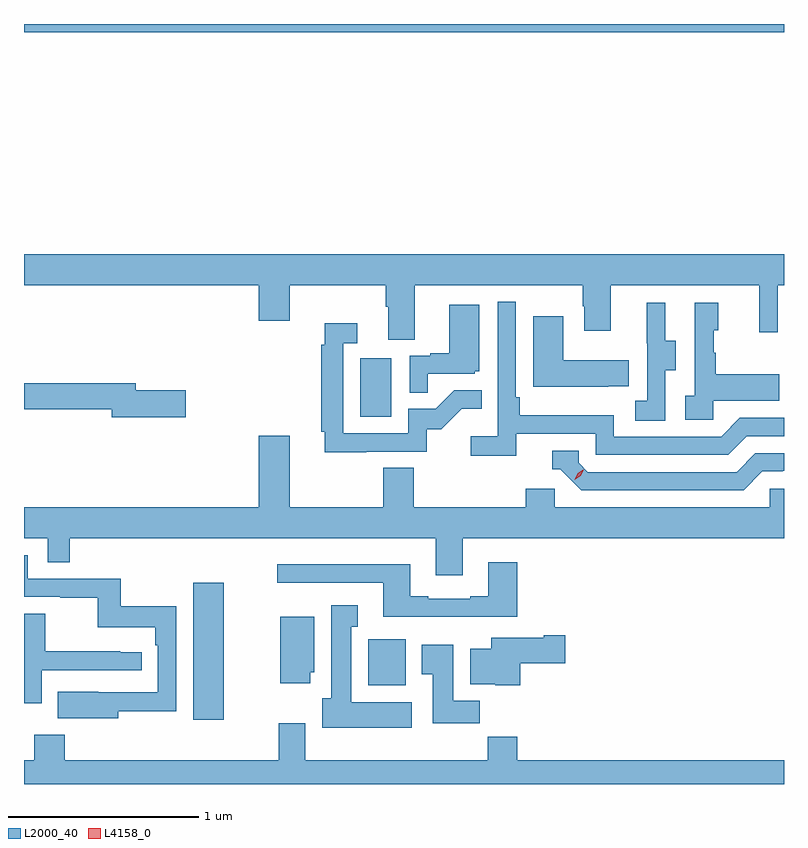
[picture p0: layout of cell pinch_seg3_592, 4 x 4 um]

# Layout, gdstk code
import gdstk
lib = gdstk.Library(unit=1e-6, precision=1e-09)
def R(c, l, rs):  # rectangles x0, y0, x1, y1
    for r in rs: c.add(gdstk.rectangle(r[:2], r[2:], *l))
def P(c, l, *ps):  # polygons
    for p in ps: c.add(gdstk.Polygon(p, *l))
L2000_40 = (2000, 40)
L4158_0 = (4158, 0)

pinch_seg3_592 = lib.new_cell('pinch_seg3_592')
R(pinch_seg3_592, L2000_40, [(1027.799,691.968,1027.96,692.689), (1028.72,692.15,1028.917,692.392), (1028.678,693.564,1028.842,693.871), (1026.909,695.588,1030.909,695.631)])
P(pinch_seg3_592, L2000_40, [(1028.965,694.256),(1029.85,694.256),(1029.85,694.145),(1029.857,694.145),(1029.857,694.017),(1029.997,694.017),(1029.997,694.256),(1030.778,694.256),(1030.778,694.008),(1030.875,694.008),(1030.875,694.256),(1030.909,694.256),(1030.909,694.42),(1026.909,694.42),(1026.909,694.256),(1028.144,694.256),(1028.144,694.068),(1028.308,694.068),(1028.308,694.256),(1028.813,694.256),(1028.813,694.144),(1028.825,694.144),(1028.825,693.97),(1028.965,693.97)],
  [(1029.5,693.474),(1029.918,693.474),(1029.918,693.363),(1030.615,693.363),(1030.714,693.462),(1030.909,693.462),(1030.909,693.558),(1030.677,693.558),(1030.578,693.459),(1030.014,693.459),(1030.014,693.571),(1029.518,693.571),(1029.518,693.667),(1029.498,693.667),(1029.498,694.168),(1029.402,694.168),(1029.402,693.46),(1029.261,693.46),(1029.261,693.358),(1029.5,693.358)],
  [(1030.536,693.647),(1030.883,693.647),(1030.883,693.787),(1030.549,693.787),(1030.549,693.902),(1030.539,693.902),(1030.539,694.02),(1030.564,694.02),(1030.564,694.165),(1030.44,694.165),(1030.44,693.674),(1030.389,693.674),(1030.389,693.549),(1030.536,693.549)],
  [(1030.284,693.808),(1030.339,693.808),(1030.339,693.963),(1030.285,693.963),(1030.285,694.165),(1030.187,694.165),(1030.187,693.951),(1030.188,693.951),(1030.188,693.647),(1030.125,693.647),(1030.125,693.544),(1030.284,693.544)],
  [(1029.035,693.789),(1029.282,693.789),(1029.282,693.804),(1029.304,693.804),(1029.304,694.153),(1029.146,694.153),(1029.146,693.898),(1029.047,693.898),(1029.047,693.885),(1028.94,693.885),(1028.94,693.691),(1029.035,693.691)],
  [(1029.983,693.725),(1030.091,693.725),(1030.091,693.862),(1029.748,693.862),(1029.748,694.093),(1029.59,694.093),(1029.59,693.722),(1029.983,693.722)],
  [(1028.711,693.381),(1029.03,693.381),(1029.03,693.498),(1029.106,693.498),(1029.213,693.605),(1029.317,693.605),(1029.317,693.704),(1029.173,693.704),(1029.075,693.606),(1028.931,693.606),(1028.931,693.477),(1028.589,693.477),(1028.589,693.951),(1028.662,693.951),(1028.662,694.057),(1028.492,694.057),(1028.492,693.944),(1028.473,693.944),(1028.473,693.484),(1028.492,693.484),(1028.492,693.376),(1028.711,693.376)],
  [(1027.759,693.704),(1027.498,693.704),(1027.498,693.74),(1026.909,693.74),(1026.909,693.604),(1027.37,693.604),(1027.37,693.562),(1027.759,693.562)],
  [(1029.217,692.924),(1030.909,692.924),(1030.909,693.186),(1030.833,693.186),(1030.833,693.088),(1029.702,693.088),(1029.702,693.186),(1029.551,693.186),(1029.551,693.088),(1028.96,693.088),(1028.96,693.296),(1028.8,693.296),(1028.8,693.088),(1028.308,693.088),(1028.308,693.463),(1028.144,693.463),(1028.144,693.088),(1026.909,693.088),(1026.909,692.924),(1027.035,692.924),(1027.035,692.797),(1027.151,692.797),(1027.151,692.924),(1029.077,692.924),(1029.077,692.73),(1029.217,692.73)],
  [(1030.795,693.276),(1030.902,693.276),(1030.902,693.279),(1030.909,693.279),(1030.909,693.372),(1030.758,693.372),(1030.659,693.273),(1029.876,693.273),(1029.828,693.321),(1029.828,693.384),(1029.689,693.384),(1029.689,693.288),(1029.732,693.288),(1029.843,693.177),(1030.696,693.177)],
  [(1027.405,692.014),(1027.71,692.014),(1027.71,692.566),(1027.417,692.566),(1027.417,692.712),(1026.93,692.712),(1026.93,692.835),(1026.909,692.835),(1026.909,692.616),(1027.099,692.616),(1027.099,692.611),(1027.296,692.611),(1027.296,692.456),(1027.601,692.456),(1027.601,692.36),(1027.614,692.36),(1027.614,692.115),(1027.301,692.115),(1027.301,692.116),(1027.087,692.116),(1027.087,691.976),(1027.405,691.976)],
  [(1029.506,692.797),(1029.353,692.797),(1029.353,692.62),(1029.257,692.62),(1029.257,692.607),(1029.037,692.607),(1029.037,692.62),(1028.941,692.62),(1028.941,692.788),(1028.241,692.788),(1028.241,692.691),(1028.801,692.691),(1028.801,692.51),(1029.506,692.51)],
  [(1028.95,692.062),(1028.632,692.062),(1028.632,692.459),(1028.665,692.459),(1028.665,692.572),(1028.525,692.572),(1028.525,692.082),(1028.48,692.082),(1028.48,691.928),(1028.95,691.928)],
  [(1027.002,692.229),(1027.528,692.229),(1027.528,692.325),(1027.415,692.325),(1027.415,692.33),(1027.022,692.33),(1027.022,692.526),(1026.909,692.526),(1026.909,692.057),(1027.002,692.057)],
  [(1028.416,692.22),(1028.437,692.22),(1028.437,692.512),(1028.258,692.512),(1028.258,692.16),(1028.416,692.16)],
  [(1029.521,692.267),(1029.757,692.267),(1029.757,692.414),(1029.644,692.414),(1029.644,692.401),(1029.368,692.401),(1029.368,692.344),(1029.257,692.344),(1029.257,692.156),(1029.39,692.156),(1029.39,692.15),(1029.521,692.15)],
  [(1029.308,692.068),(1029.169,692.068),(1029.169,692.365),(1029.002,692.365),(1029.002,692.209),(1029.059,692.209),(1029.059,691.95),(1029.308,691.95)],
  [(1030.909,691.756),(1029.506,691.756),(1029.506,691.88),(1029.349,691.88),(1029.349,691.756),(1028.389,691.756),(1028.389,691.951),(1028.249,691.951),(1028.249,691.756),(1027.124,691.756),(1027.124,691.891),(1026.964,691.891),(1026.964,691.756),(1026.909,691.756),(1026.909,691.631),(1030.909,691.631)])
P(pinch_seg3_592, L4158_0, [(1029.807,693.233),(1029.807,693.233),(1029.823,693.266),(1029.853,693.286),(1029.854,693.286),(1029.854,693.286),(1029.838,693.253),(1029.808,693.233)])

lib.write_gds('pinch_seg3_592.gds')
